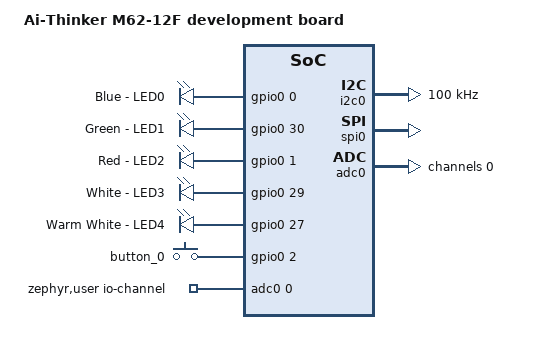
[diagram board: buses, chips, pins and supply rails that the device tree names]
/*
 * Copyright (c) 2024-2026 MASSDRIVER EI (massdriver.space)
 *
 * SPDX-License-Identifier: Apache-2.0
 */

/dts-v1/;

#include "ai_m62_12f.dtsi"
#include "ai_m62_12f_kit-pinctrl.dtsi"

/ {
	model = "Ai-Thinker M62-12F development board";

	aliases {
		led0 = &blue_led;
		pwm-led0 = &white_pwm_led;
		sw0 = &button_0;
	};

	leds {
		compatible = "gpio-leds";

		blue_led: led_0 {
			gpios = <&gpio0 0 (GPIO_ACTIVE_HIGH | GPIO_PULL_DOWN)>;
			label = "Blue - LED0";
		};

		green_led: led_1 {
			gpios = <&gpio0 30 GPIO_ACTIVE_HIGH>;
			label = "Green - LED1";
		};

		red_led: led_2 {
			gpios = <&gpio0 1 GPIO_ACTIVE_HIGH>;
			label = "Red - LED2";
		};

		white_led: led_3 {
			gpios = <&gpio0 29 GPIO_ACTIVE_HIGH>;
			label = "White - LED3";
		};

		warmwhite_led: led_4 {
			gpios = <&gpio0 27 GPIO_ACTIVE_HIGH>;
			label = "Warm White - LED4";
		};
	};

	pwmleds: pwmleds {
		compatible = "pwm-leds";
		status = "disabled";

		blue_pwm_led: led_pwm_0 {
			pwms = <&pwm0 0 PWM_MSEC(1) PWM_POLARITY_NORMAL>;
			label = "Blue - LED0 PWM";
		};

		green_pwm_led: led_pwm_1 {
			pwms = <&pwm0 2 PWM_MSEC(1) PWM_POLARITY_NORMAL>;
			label = "Green - LED1 PWM";
		};

		red_pwm_led: led_pwm_2 {
			pwms = <&pwm0 1 PWM_MSEC(1) PWM_POLARITY_NORMAL>;
			label = "Red - LED2 PWM";
		};

		white_pwm_led: led_pwm_3 {
			pwms = <&pwm0 1 PWM_MSEC(1) PWM_POLARITY_NORMAL>;
			label = "White - LED3 PWM";
		};

		warmwhite_pwm_led: led_pwm_4 {
			pwms = <&pwm0 3 PWM_MSEC(1) PWM_POLARITY_NORMAL>;
			label = "Warm White - LED4 PWM";
		};
	};

	buttons {
		compatible = "gpio-keys";

		button_0: sw0 {
			gpios = <&gpio0 2 GPIO_ACTIVE_HIGH>;
			zephyr,code = <INPUT_KEY_0>;
		};
	};

	zephyr,user {
		io-channels = <&adc0 0>;
	};
};

&i2c0 {
	status = "okay";
	clock-frequency = <I2C_BITRATE_STANDARD>;

	pinctrl-0 = <&i2c0_default>;
	pinctrl-names = "default";
};

&spi0 {
	status = "okay";

	pinctrl-0 = <&spi0_default>;
	pinctrl-names = "default";
};

&adc0 {
	status = "okay";

	pinctrl-0 = <&adc0_default>;
	pinctrl-names = "default";

	channel@0 {
		reg = <0>;
		zephyr,gain = "ADC_GAIN_1";
		zephyr,reference = "ADC_REF_INTERNAL";
		zephyr,acquisition-time = <ADC_ACQ_TIME_DEFAULT>;
		zephyr,resolution = <16>;
		zephyr,input-positive = <0>;
	};
};
